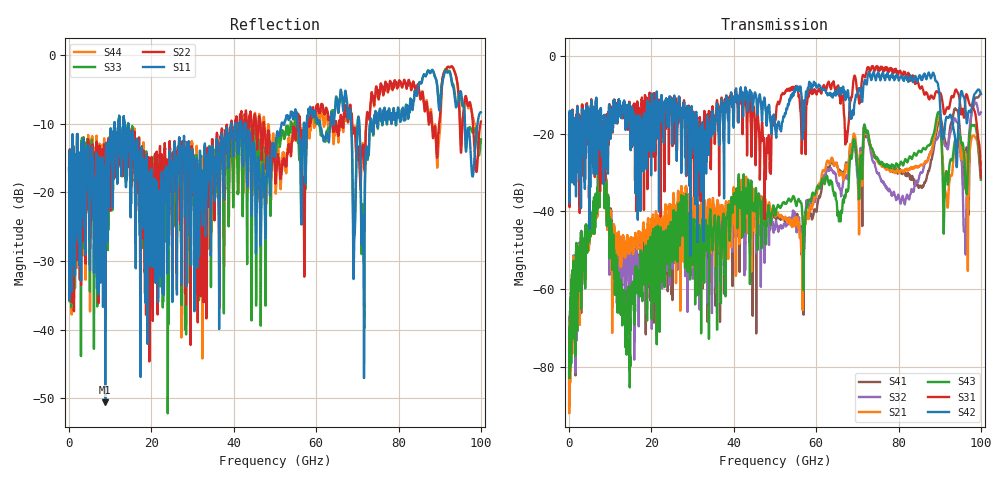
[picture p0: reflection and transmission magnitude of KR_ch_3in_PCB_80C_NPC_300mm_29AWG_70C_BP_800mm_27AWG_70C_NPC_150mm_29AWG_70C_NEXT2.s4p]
# Hz S RI R 45
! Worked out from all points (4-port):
!   4000 points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, 25 MHz to 100 GHz, reference 45 ohm
!   strongest paths, dB at 25 MHz, 25.02 GHz, 50.02 GHz, 75.03 GHz, 100 GHz:
!     S42: -20.7, -20.7, -18.8, -4.2, -9.7
!     S31: -20.7, -17.6, -16.6, -3.1, -31.3
!     S43: -82.8, -51.1, -40.5, -26.4, -31.8
!     S21: -81.6, -46.3, -40.4, -27.2, -27.3
!     S32: -84.3, -51.6, -44.7, -30.4, -14.5
!     S41: -90.0, -61.6, -41.2, -27.1, -9.7
!   lowest |S11| = -50.6 dB at 8.8 GHz (marker M1), VSWR 1.01, Z = 44.9 - j0.241 ohm
!   |S11| at or under -10 dB: start of sweep to 11.02 GHz; 13.41 GHz to 39.38 GHz (25.98 GHz wide, 98.4 % of centre); 42.86 GHz to 51.61 GHz (8.752 GHz wide, 18.5 % of centre) (the widest 3 of 30)
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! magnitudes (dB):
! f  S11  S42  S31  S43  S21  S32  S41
! 25 MHz  -16.4  -20.7  -20.7  -82.8  -81.6  -84.3  -90.0
! 8.8 GHz  -50.6  -17.9  -23.5  -32.8  -32.7  -33.6  -32.2
! 14.38 GHz  -10.1  -14.3  -16.0  -61.1  -48.4  -51.3  -48.7
! 71.95 GHz  -15.3  -6.5  -5.3  -18.9  -19.4  -18.7  -20.0
! 93.95 GHz  -7.6  -24.6  -8.6  -21.9  -23.4  -16.7  -13.7
! 96.1 GHz  -9.6  -11.6  -13.3  -28.6  -24.7  -44.8  -27.3
! 100 GHz  -8.3  -9.7  -31.3  -31.8  -27.3  -14.5  -9.7
